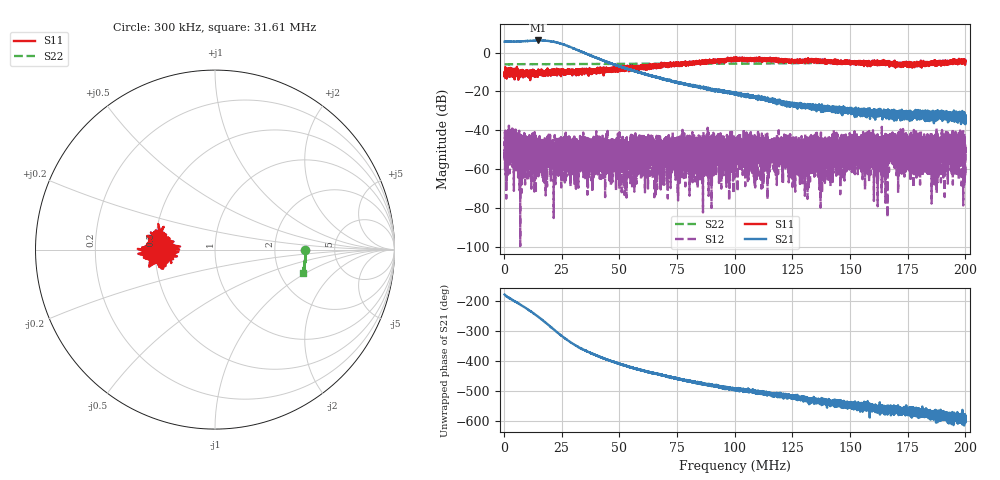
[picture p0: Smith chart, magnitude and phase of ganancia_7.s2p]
# Hz S DB R 50
! CMT, M5065, 19127446, 24.2.4/2
! Date: 10/29/2024 11:54:51 AM
! Data: Format (Calibration Info)
! Freq	S11:dB/Ang(F2)	S21:dB/Ang(F2)	S12:dB/Ang(F2)	S22:dB/Ang(F2)
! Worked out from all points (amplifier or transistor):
!   9000 points, 300 kHz to 200 MHz, reference 50 ohm
!   highest |S21| = 6.3 dB at 14.77 MHz (marker M1)
!   |S21| within 3 dB of that: start of sweep to 27.98 MHz
!   unconditionally stable (mu >= 1): start of sweep to end of sweep
!   at 33.59 MHz: K = 328.29, MAG = 2.3 dB, |S12| = -60.5 dB
!   at 100.2 MHz: K = 753.82, MAG = -16.5 dB, |S12| = -51.5 dB
!   at 200 MHz: K = 2961.72, MAG = -28.8 dB, |S12| = -50.2 dB
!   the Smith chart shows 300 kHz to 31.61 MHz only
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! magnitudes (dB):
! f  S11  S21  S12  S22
! 300 kHz  -11.5  5.6  -51.1  -6.0
! 2.674 MHz  -8.4  5.7  -42.1  -6.0
! 6.913 MHz  -10.2  5.8  -53.1  -5.9
! 9.532 MHz  -11.9  6.0  -54.9  -5.9
! 14.77 MHz  -11.3  6.3  -50.8  -5.9
! 33.59 MHz  -9.5  0.5  -60.5  -5.9
! 66.87 MHz  -7.0  -12.8  -50.0  -5.7
! 100.2 MHz  -3.1  -20.8  -51.5  -5.6
! 119.4 MHz  -4.0  -25.0  -44.3  -5.5
! 127.9 MHz  -4.3  -27.1  -48.7  -5.4
! 129.9 MHz  -3.9  -27.9  -44.8  -5.4
! 133.4 MHz  -3.7  -27.8  -54.6  -5.3
! 135.2 MHz  -3.8  -28.2  -43.1  -5.3
! 137.2 MHz  -4.2  -27.7  -79.8  -5.3
! 147.2 MHz  -4.8  -30.8  -50.6  -5.2
! 166.7 MHz  -5.8  -31.4  -48.6  -5.3
! 181 MHz  -5.5  -32.7  -55.4  -5.4
! 184.8 MHz  -5.5  -33.2  -48.9  -5.4
! 186.6 MHz  -5.3  -31.9  -44.3  -5.4
! 189.4 MHz  -5.5  -33.3  -44.8  -5.5
! 197.8 MHz  -4.3  -32.4  -42.5  -5.5
! 200 MHz  -4.2  -32.4  -50.2  -5.5
